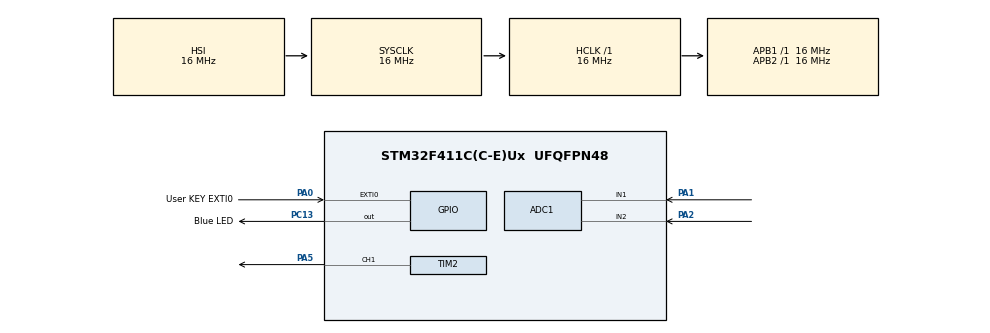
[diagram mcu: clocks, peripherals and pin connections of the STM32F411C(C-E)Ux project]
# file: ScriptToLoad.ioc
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ADC1.Channel-0\#ChannelRegularConversion=ADC_CHANNEL_1
ADC1.DMAContinuousRequests=ENABLE
ADC1.NbrOfConversion=2
ADC1.NbrOfConversionFlag=1
ADC1.Rank-0\#ChannelRegularConversion=1
ADC1.SamplingTime-0\#ChannelRegularConversion=ADC_SAMPLETIME_3CYCLES
ADC1.master=1
Dma.ADC1.0.Direction=DMA_PERIPH_TO_MEMORY
Dma.ADC1.0.FIFOMode=DMA_FIFOMODE_DISABLE
Dma.ADC1.0.Instance=DMA2_Stream0
Dma.ADC1.0.MemDataAlignment=DMA_MDATAALIGN_WORD
Dma.ADC1.0.MemInc=DMA_MINC_ENABLE
Dma.ADC1.0.Mode=DMA_CIRCULAR
Dma.ADC1.0.PeriphDataAlignment=DMA_PDATAALIGN_WORD
Dma.ADC1.0.PeriphInc=DMA_PINC_DISABLE
Dma.ADC1.0.Priority=DMA_PRIORITY_LOW
Dma.Request0=ADC1
FREERTOS.BinarySemaphores01=buttonSemaphore,Dynamic,NULL,Available
FREERTOS.Events01=EventFlags,Dynamic,NULL
FREERTOS.Mutexes01=pwmMutex,Dynamic,NULL,Available
FREERTOS.Queues01=AN1Queue,16,uint16_t,0,Dynamic,NULL,NULL;AN2Queue,16,uint16_t,0,Dynamic,NULL,NULL
FREERTOS.Tasks01=LEDTask,24,128,StartLEDTask,Default,NULL,Dynamic,NULL,NULL;AN1Task,24,128,StartAN1Task,Default,NULL,Dynamic,NULL,NULL;AN2Task,24,128,StartAN2Task,Default,NULL,Dynamic,NULL,NULL
Mcu.Family=STM32F4
Mcu.Name=STM32F411C(C-E)Ux
Mcu.Package=UFQFPN48
NVIC.ADC_IRQn=true\:5\:0\:true\:false\:true\:true\:true\:true\:true
NVIC.DMA2_Stream0_IRQn=true\:5\:0\:true\:false\:true\:true\:true\:true\:true
NVIC.EXTI0_IRQn=true\:6\:0\:true\:false\:true\:true\:true\:true\:true
NVIC.PriorityGroup=NVIC_PRIORITYGROUP_4
NVIC.TIM1_UP_TIM10_IRQn=true\:15\:0\:true\:false\:true\:false\:true\:true\:true
NVIC.TIM2_IRQn=true\:5\:0\:true\:false\:true\:true\:true\:true\:true
NVIC.TimeBase=TIM1_UP_TIM10_IRQn
NVIC.TimeBaseIP=TIM10
PA0-WKUP.GPIO_Label=User KEY EXTI0
PA0-WKUP.GPIO_PuPd=GPIO_PULLUP
PA0-WKUP.Signal=GPXTI0
PA1.Signal=ADCx_IN1
PA13.Mode=Serial_Wire
PA13.Signal=SYS_JTMS-SWDIO
PA14.Mode=Serial_Wire
PA14.Signal=SYS_JTCK-SWCLK
PA2.Signal=ADCx_IN2
PA5.Signal=S_TIM2_CH1_ETR
PC13-ANTI_TAMP.GPIO_Label=Blue LED
PC13-ANTI_TAMP.GPIO_ModeDefaultOutputPP=GPIO_MODE_OUTPUT_OD
PC13-ANTI_TAMP.GPIO_PuPd=GPIO_NOPULL
PC13-ANTI_TAMP.PinState=GPIO_PIN_SET
PC13-ANTI_TAMP.Signal=GPIO_Output
PC14-OSC32_IN.Mode=LSE-External-Oscillator
PC14-OSC32_IN.Signal=RCC_OSC32_IN
PC15-OSC32_OUT.Mode=LSE-External-Oscillator
PC15-OSC32_OUT.Signal=RCC_OSC32_OUT
PH0\ -\ OSC_IN.Mode=HSE-External-Oscillator
PH0\ -\ OSC_IN.Signal=RCC_OSC_IN
PH1\ -\ OSC_OUT.Mode=HSE-External-Oscillator
PH1\ -\ OSC_OUT.Signal=RCC_OSC_OUT
ProjectManager.HeapSize=0x200
ProjectManager.StackSize=0x400
ProjectManager.TargetToolchain=CMake
RCC.AHBFreq_Value=16000000
RCC.APB1Freq_Value=16000000
RCC.APB2Freq_Value=16000000
RCC.CortexFreq_Value=16000000
RCC.HSE_VALUE=25000000
RCC.HSI_VALUE=16000000
RCC.SYSCLKFreq_VALUE=16000000
RCC.VCOOutputFreq_Value=192000000
SH.ADCx_IN1.0=ADC1_IN1,IN1
SH.ADCx_IN2.0=ADC1_IN2,IN2
SH.S_TIM2_CH1_ETR.0=TIM2_CH1,PWM Generation1 CH1
TIM2.AutoReloadPreload=TIM_AUTORELOAD_PRELOAD_ENABLE
TIM2.Channel-PWM\ Generation1\ CH1=TIM_CHANNEL_1
TIM2.Period=4095
TIM2.Prescaler=3
VP_FREERTOS_VS_CMSIS_V2.Mode=CMSIS_V2
VP_SYS_VS_tim10.Mode=TIM10
VP_TIM2_VS_ClockSourceINT.Mode=Internal
board=custom

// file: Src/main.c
/* USER CODE BEGIN Header */
/**
 ******************************************************************************
 * @file           : main.c
 * @brief          : Main program body
 ******************************************************************************
 * @attention
 *
 * Copyright (c) 2025 STMicroelectronics.
 * All rights reserved.
 *
 * This software is licensed under terms that can be found in the LICENSE file
 * in the root directory of this software component.
 * If no LICENSE file comes with this software, it is provided AS-IS.
 *
 ******************************************************************************
 */
/* USER CODE END Header */
#include "main.h"
#include "cmsis_os.h"

ADC_HandleTypeDef hadc1;
DMA_HandleTypeDef hdma_adc1;

TIM_HandleTypeDef htim2;

/* Definitions for LEDTask */
osThreadId_t LEDTaskHandle;
const osThreadAttr_t LEDTask_attributes = {
    .name = "LEDTask",
    .stack_size = 128 * 4,
    .priority = (osPriority_t)osPriorityNormal,
};
/* Definitions for AN1Task */
osThreadId_t AN1TaskHandle;
const osThreadAttr_t AN1Task_attributes = {
    .name = "AN1Task",
    .stack_size = 128 * 4,
    .priority = (osPriority_t)osPriorityNormal,
};
/* Definitions for AN2Task */
osThreadId_t AN2TaskHandle;
const osThreadAttr_t AN2Task_attributes = {
    .name = "AN2Task",
    .stack_size = 128 * 4,
    .priority = (osPriority_t)osPriorityNormal,
};
/* Definitions for AN1Queue */
osMessageQueueId_t AN1QueueHandle;
const osMessageQueueAttr_t AN1Queue_attributes = {
    .name = "AN1Queue"};
/* Definitions for AN2Queue */
osMessageQueueId_t AN2QueueHandle;
const osMessageQueueAttr_t AN2Queue_attributes = {
    .name = "AN2Queue"};
/* Definitions for pwmMutex */
osMutexId_t pwmMutexHandle;
const osMutexAttr_t pwmMutex_attributes = {
    .name = "pwmMutex"};
/* Definitions for buttonSemaphore */
osSemaphoreId_t buttonSemaphoreHandle;
const osSemaphoreAttr_t buttonSemaphore_attributes = {
    .name = "buttonSemaphore"};
/* Definitions for EventFlags */
osEventFlagsId_t EventFlagsHandle;
const osEventFlagsAttr_t EventFlags_attributes = {
    .name = "EventFlags"};

void SystemClock_Config(void);
static void MX_GPIO_Init(void);
static void MX_DMA_Init(void);
static void MX_ADC1_Init(void);
static void MX_TIM2_Init(void);
void StartLEDTask(void *argument);
void StartAN1Task(void *argument);
void StartAN2Task(void *argument);

/* USER CODE BEGIN 0 */
/* Event flag definitions */
#define BUTTON_FLAG (1UL << 0) // Bit 0 for button press
#define PWM_FLAG (1UL << 1)    // Bit 1 for PWM update
/* USER CODE END 0 */

int main(void)
{

  /* MCU Configuration--------------------------------------------------------*/

  /* Reset of all peripherals, Initializes the Flash interface and the Systick. */
  HAL_Init();

  /* Configure the system clock */
  SystemClock_Config();

  /* Initialize all configured peripherals */
  MX_GPIO_Init();
  MX_DMA_Init();
  MX_ADC1_Init();
  MX_TIM2_Init();

  /* Init scheduler */
  osKernelInitialize();
  /* Create the mutex(es) */
  /* creation of pwmMutex */
  pwmMutexHandle = osMutexNew(&pwmMutex_attributes);

  /* Create the semaphores(s) */
  /* creation of buttonSemaphore */
  buttonSemaphoreHandle = osSemaphoreNew(1, 1, &buttonSemaphore_attributes);

  /* Create the queue(s) */
  /* creation of AN1Queue */
  AN1QueueHandle = osMessageQueueNew(16, sizeof(uint16_t), &AN1Queue_attributes);

  /* creation of AN2Queue */
  AN2QueueHandle = osMessageQueueNew(16, sizeof(uint16_t), &AN2Queue_attributes);

  /* Create the thread(s) */
  /* creation of LEDTask */
  LEDTaskHandle = osThreadNew(StartLEDTask, NULL, &LEDTask_attributes);

  /* creation of AN1Task */
  AN1TaskHandle = osThreadNew(StartAN1Task, NULL, &AN1Task_attributes);

  /* creation of AN2Task */
  AN2TaskHandle = osThreadNew(StartAN2Task, NULL, &AN2Task_attributes);

  /* creation of EventFlags */
  EventFlagsHandle = osEventFlagsNew(&EventFlags_attributes);

  /* Start scheduler */
  osKernelStart();

  /* We should never get here as control is now taken by the scheduler */

  /* Infinite loop */
  while (1)
  {

  }
}

void SystemClock_Config(void)
{
  RCC_OscInitTypeDef RCC_OscInitStruct = {0};
  RCC_ClkInitTypeDef RCC_ClkInitStruct = {0};

  /** Configure the main internal regulator output voltage
   */
  __HAL_RCC_PWR_CLK_ENABLE();
  __HAL_PWR_VOLTAGESCALING_CONFIG(PWR_REGULATOR_VOLTAGE_SCALE1);

  /** Initializes the RCC Oscillators according to the specified parameters
   * in the RCC_OscInitTypeDef structure.
   */
  RCC_OscInitStruct.OscillatorType = RCC_OSCILLATORTYPE_HSI;
  RCC_OscInitStruct.HSIState = RCC_HSI_ON;
  RCC_OscInitStruct.HSICalibrationValue = RCC_HSICALIBRATION_DEFAULT;
  RCC_OscInitStruct.PLL.PLLState = RCC_PLL_NONE;
  if (HAL_RCC_OscConfig(&RCC_OscInitStruct) != HAL_OK)
  {
    Error_Handler();
  }

  /** Initializes the CPU, AHB and APB buses clocks
   */
  RCC_ClkInitStruct.ClockType = RCC_CLOCKTYPE_HCLK | RCC_CLOCKTYPE_SYSCLK | RCC_CLOCKTYPE_PCLK1 | RCC_CLOCKTYPE_PCLK2;
  RCC_ClkInitStruct.SYSCLKSource = RCC_SYSCLKSOURCE_HSI;
  RCC_ClkInitStruct.AHBCLKDivider = RCC_SYSCLK_DIV1;
  RCC_ClkInitStruct.APB1CLKDivider = RCC_HCLK_DIV1;
  RCC_ClkInitStruct.APB2CLKDivider = RCC_HCLK_DIV1;

  if (HAL_RCC_ClockConfig(&RCC_ClkInitStruct, FLASH_LATENCY_0) != HAL_OK)
  {
    Error_Handler();
  }
}

static void MX_ADC1_Init(void)
{

  ADC_ChannelConfTypeDef sConfig = {0};

  /** Configure the global features of the ADC (Clock, Resolution, Data Alignment and number of conversion)
   */
  hadc1.Instance = ADC1;
  hadc1.Init.ClockPrescaler = ADC_CLOCK_SYNC_PCLK_DIV2;
  hadc1.Init.Resolution = ADC_RESOLUTION_12B;
  hadc1.Init.ScanConvMode = ENABLE;
  hadc1.Init.ContinuousConvMode = DISABLE;
  hadc1.Init.DiscontinuousConvMode = DISABLE;
  hadc1.Init.ExternalTrigConvEdge = ADC_EXTERNALTRIGCONVEDGE_NONE;
  hadc1.Init.ExternalTrigConv = ADC_SOFTWARE_START;
  hadc1.Init.DataAlign = ADC_DATAALIGN_RIGHT;
  hadc1.Init.NbrOfConversion = 2;
  hadc1.Init.DMAContinuousRequests = ENABLE;
  hadc1.Init.EOCSelection = ADC_EOC_SINGLE_CONV;
  if (HAL_ADC_Init(&hadc1) != HAL_OK)
  {
    Error_Handler();
  }

  /** Configure for the selected ADC regular channel its corresponding rank in the sequencer and its sample time.
   */
  sConfig.Channel = ADC_CHANNEL_1;
  sConfig.Rank = 1;
  sConfig.SamplingTime = ADC_SAMPLETIME_3CYCLES;
  if (HAL_ADC_ConfigChannel(&hadc1, &sConfig) != HAL_OK)
  {
    Error_Handler();
  }
}

static void MX_TIM2_Init(void)
{

  TIM_ClockConfigTypeDef sClockSourceConfig = {0};
  TIM_MasterConfigTypeDef sMasterConfig = {0};
  TIM_OC_InitTypeDef sConfigOC = {0};

  htim2.Instance = TIM2;
  htim2.Init.Prescaler = 3;
  htim2.Init.CounterMode = TIM_COUNTERMODE_UP;
  htim2.Init.Period = 4095;
  htim2.Init.ClockDivision = TIM_CLOCKDIVISION_DIV1;
  htim2.Init.AutoReloadPreload = TIM_AUTORELOAD_PRELOAD_ENABLE;
  if (HAL_TIM_Base_Init(&htim2) != HAL_OK)
  {
    Error_Handler();
  }
  sClockSourceConfig.ClockSource = TIM_CLOCKSOURCE_INTERNAL;
  if (HAL_TIM_ConfigClockSource(&htim2, &sClockSourceConfig) != HAL_OK)
  {
    Error_Handler();
  }
  if (HAL_TIM_PWM_Init(&htim2) != HAL_OK)
  {
    Error_Handler();
  }
  sMasterConfig.MasterOutputTrigger = TIM_TRGO_RESET;
  sMasterConfig.MasterSlaveMode = TIM_MASTERSLAVEMODE_DISABLE;
  if (HAL_TIMEx_MasterConfigSynchronization(&htim2, &sMasterConfig) != HAL_OK)
  {
    Error_Handler();
  }
  sConfigOC.OCMode = TIM_OCMODE_PWM1;
  sConfigOC.Pulse = 0;
  sConfigOC.OCPolarity = TIM_OCPOLARITY_HIGH;
  sConfigOC.OCFastMode = TIM_OCFAST_DISABLE;
  if (HAL_TIM_PWM_ConfigChannel(&htim2, &sConfigOC, TIM_CHANNEL_1) != HAL_OK)
  {
    Error_Handler();
  }
  HAL_TIM_MspPostInit(&htim2);
}

static void MX_DMA_Init(void)
{

  /* DMA controller clock enable */
  __HAL_RCC_DMA2_CLK_ENABLE();

  /* DMA interrupt init */
  /* DMA2_Stream0_IRQn interrupt configuration */
  HAL_NVIC_SetPriority(DMA2_Stream0_IRQn, 5, 0);
  HAL_NVIC_EnableIRQ(DMA2_Stream0_IRQn);
}

static void MX_GPIO_Init(void)
{
  GPIO_InitTypeDef GPIO_InitStruct = {0};

  /* GPIO Ports Clock Enable */
  __HAL_RCC_GPIOC_CLK_ENABLE();
  __HAL_RCC_GPIOH_CLK_ENABLE();
  __HAL_RCC_GPIOA_CLK_ENABLE();

  /*Configure GPIO pin Output Level */
  HAL_GPIO_WritePin(Blue_LED_GPIO_Port, Blue_LED_Pin, GPIO_PIN_SET);

  /*Configure GPIO pin : Blue_LED_Pin */
  GPIO_InitStruct.Pin = Blue_LED_Pin;
  GPIO_InitStruct.Mode = GPIO_MODE_OUTPUT_OD;
  GPIO_InitStruct.Pull = GPIO_NOPULL;
  GPIO_InitStruct.Speed = GPIO_SPEED_FREQ_LOW;
  HAL_GPIO_Init(Blue_LED_GPIO_Port, &GPIO_InitStruct);

  /*Configure GPIO pin : User_KEY_EXTI0_Pin */
  GPIO_InitStruct.Pin = User_KEY_EXTI0_Pin;
  GPIO_InitStruct.Mode = GPIO_MODE_IT_RISING;
  GPIO_InitStruct.Pull = GPIO_PULLUP;
  HAL_GPIO_Init(User_KEY_EXTI0_GPIO_Port, &GPIO_InitStruct);

  /* EXTI interrupt init*/
  HAL_NVIC_SetPriority(EXTI0_IRQn, 6, 0);
  HAL_NVIC_EnableIRQ(EXTI0_IRQn);

}

void StartLEDTask(void *argument)
{
  /* USER CODE BEGIN 5 */
  /* Infinite loop */
  for (;;)
  {

    /* Wait for both BUTTON_FLAG and PWM_FLAG (AND condition) */
    uint32_t flags = osEventFlagsWait(EventFlagsHandle, BUTTON_FLAG | PWM_FLAG,
                                      osFlagsWaitAll, osWaitForever);
    if (flags & (BUTTON_FLAG | PWM_FLAG))
    {
      HAL_GPIO_TogglePin(GPIOB, GPIO_PIN_0); // Toggle LED
      osDelay(200);                          // Debounce delay
    }
    /* Check if the button semaphore is available */
    if (osSemaphoreAcquire(buttonSemaphoreHandle, 0) == osOK)
    {
      // Button was pressed, handle the event
      // For example, you can send a message to AN1Queue or AN2Queue
      uint16_t data = 1234; // Example data
      osMessageQueuePut(AN1QueueHandle, &data, 0, 0);
      osMessageQueuePut(AN2QueueHandle, &data, 0, 0);
    }

    /* Check if the PWM mutex is available */
    if (osMutexAcquire(pwmMutexHandle, 0) == osOK)
    {
      // PWM update logic here
      // For example, you can update the PWM duty cycle
      TIM2->CCR1 = 2048; // Set duty cycle to 50%
      osMutexRelease(pwmMutexHandle);
    }

    /* Check if the event flags are set */
    uint32_t eventFlags = osEventFlagsGet(EventFlagsHandle);
    if (eventFlags & BUTTON_FLAG)
    {
      // Handle button press event
      // For example, you can send a message to AN1Queue or AN2Queue
      uint16_t data = 5678; // Example data
      osMessageQueuePut(AN1QueueHandle, &data, 0, 0);
      osMessageQueuePut(AN2QueueHandle, &data, 0, 0);
    }

    if (eventFlags & PWM_FLAG)
    {
      // Handle PWM update event
      // For example, you can update the PWM duty cycle
      TIM2->CCR1 = 1024; // Set duty cycle to 25%
    }
    /* Check if the event flags are set */
    if (eventFlags & (BUTTON_FLAG | PWM_FLAG))
    {
      // Handle the event
      // For example, you can send a message to AN1Queue or AN2Queue
      uint16_t data = 9999; // Example data
      osMessageQueuePut(AN1QueueHandle, &data, 0, 0);
      osMessageQueuePut(AN2QueueHandle, &data, 0, 0);
    }
    /* Delay to prevent busy-waiting */
    // osDelay(100); // Adjust the delay as needed
    osDelay(1);
  }
  /* USER CODE END 5 */
}

void StartAN1Task(void *argument)
{
  /* USER CODE BEGIN StartAN1Task */
  /* Infinite loop */
  for (;;)
  {

    // Process messages from AN1Queue
    uint16_t data;
    osStatus_t queueStatus = osMessageQueueGet(AN1QueueHandle, &data, NULL, 0);
    if (queueStatus == osOK)
    {
      // Process the received data
      // For example, you can print it or use it in your application
      // printf("AN1Queue received: %d\n", data);
    }
    else if (queueStatus == osErrorTimeout)
    {
      // No message available, continue processing
    }
    else
    {
      // Handle other errors if necessary
    }

    // Check if the PWM mutex is available
    // and update the PWM duty cycle
    osStatus_t status = osMutexAcquire(pwmMutexHandle, 100); // Timeout after 100 ticks
    if (status == osOK)
    {
      // compareValue = (compareValue + 100) % 1000;
      // TIM1->CCR1 = compareValue;
      osMutexRelease(pwmMutexHandle);
    }
    else
    {
      // Handle timeout (e.g., skip update or signal error)
      TIM1->CCR1 = 0; // Set duty cycle to 0 as fallback
    }
    // Wait for a short period to avoid busy-waiting
    osDelay(1);
  }
  /* USER CODE END StartAN1Task */
}

void StartAN2Task(void *argument)
{
  /* USER CODE BEGIN StartAN2Task */
  /* Infinite loop */
  for (;;)
  {

    // Process messages from AN2Queue
    uint16_t data;
    osStatus_t an2QueueStatus = osMessageQueueGet(AN2QueueHandle, &data, NULL, 0);

    if (an2QueueStatus == osOK)
    {
      // Process the received data
      // For example, you can print it or use it in your application
      // printf("AN2Queue received: %d\n", data);
    }
    else if (an2QueueStatus == osErrorTimeout)
    {
      // No message available, continue processing
    }
    else
    {
      // Handle other errors if necessary
    }

    osStatus_t status = osMutexAcquire(pwmMutexHandle, 100); // Timeout after 100 ticks
    if (status == osOK)
    {
      // compareValue = (compareValue + 100) % 1000;
      // TIM1->CCR1 = compareValue;
      osMutexRelease(pwmMutexHandle);
    }
    else
    {
      // Handle timeout (e.g., skip update or signal error)
      TIM1->CCR1 = 0; // Set duty cycle to 0 as fallback
    }

    // Wait for a short period to avoid busy-waiting
    osDelay(1);
  }
  /* USER CODE END StartAN2Task */
}

void HAL_TIM_PeriodElapsedCallback(TIM_HandleTypeDef *htim)
{
  if (htim->Instance == TIM10)
  {
    HAL_IncTick();
  }
}

void Error_Handler(void)
{
  __disable_irq();
  while (1)
  {
  }
}
